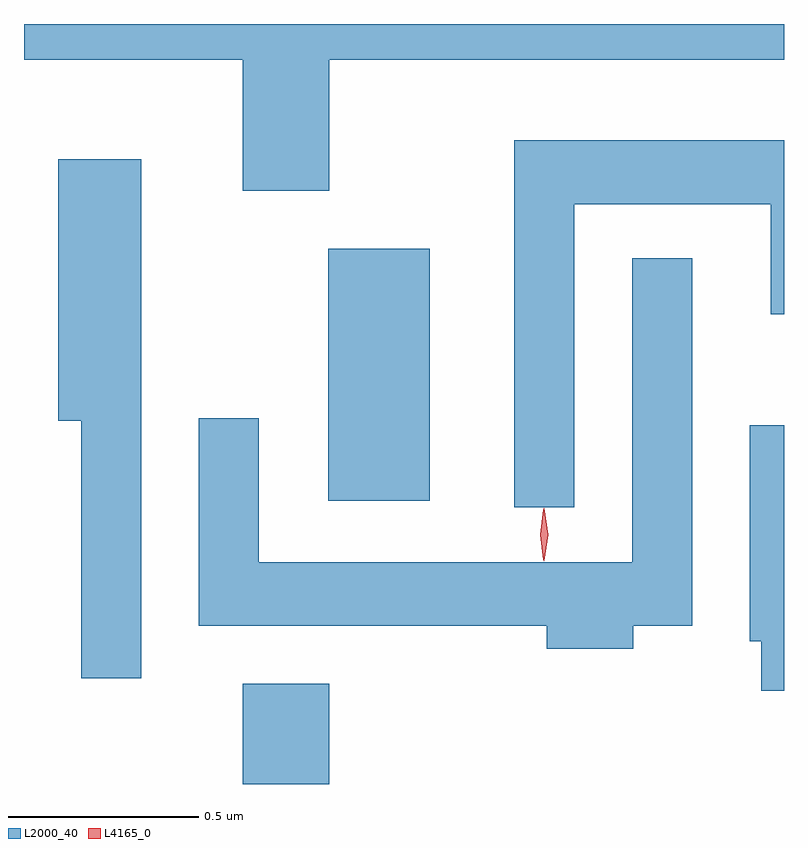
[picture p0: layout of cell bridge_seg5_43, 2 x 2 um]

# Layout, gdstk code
import gdstk
lib = gdstk.Library(unit=1e-6, precision=1e-09)
def R(c, l, rs):  # rectangles x0, y0, x1, y1
    for r in rs: c.add(gdstk.rectangle(r[:2], r[2:], *l))
def P(c, l, *ps):  # polygons
    for p in ps: c.add(gdstk.Polygon(p, *l))
L2000_40 = (2000, 40)
L4165_0 = (4165, 0)

bridge_seg5_43 = lib.new_cell('bridge_seg5_43')
R(bridge_seg5_43, L2000_40, [(1345.761,1468.21,1345.989,1468.474), (1345.986,1468.956,1346.254,1469.619)])
P(bridge_seg5_43, L2000_40, [(1345.989,1470.116),(1347.186,1470.116),(1347.186,1470.21),(1345.186,1470.21),(1345.186,1470.116),(1345.761,1470.116),(1345.761,1469.771),(1345.989,1469.771)],
  [(1346.634,1469.736),(1347.151,1469.736),(1347.151,1469.446),(1347.186,1469.446),(1347.186,1469.904),(1346.476,1469.904),(1346.476,1468.938),(1346.634,1468.938)],
  [(1345.494,1469.854),(1345.276,1469.854),(1345.276,1469.166),(1345.336,1469.166),(1345.336,1468.488),(1345.494,1468.488)],
  [(1346.789,1468.626),(1346.944,1468.626),(1346.944,1469.593),(1346.786,1469.593),(1346.786,1468.794),(1345.804,1468.794),(1345.804,1469.173),(1345.646,1469.173),(1345.646,1468.626),(1346.561,1468.626),(1346.561,1468.566),(1346.789,1468.566)],
  [(1347.186,1469.154),(1347.096,1469.154),(1347.096,1468.586),(1347.126,1468.586),(1347.126,1468.456),(1347.186,1468.456)])
P(bridge_seg5_43, L4165_0, [(1346.554,1468.797),(1346.545,1468.866),(1346.554,1468.936),(1346.555,1468.936),(1346.555,1468.936),(1346.565,1468.866),(1346.555,1468.797),(1346.555,1468.797)],
  [(1346.554,1468.799),(1346.553,1468.8),(1346.544,1468.866),(1346.553,1468.932),(1346.554,1468.933),(1346.554,1468.932),(1346.564,1468.866),(1346.554,1468.8)])

lib.write_gds('bridge_seg5_43.gds')
